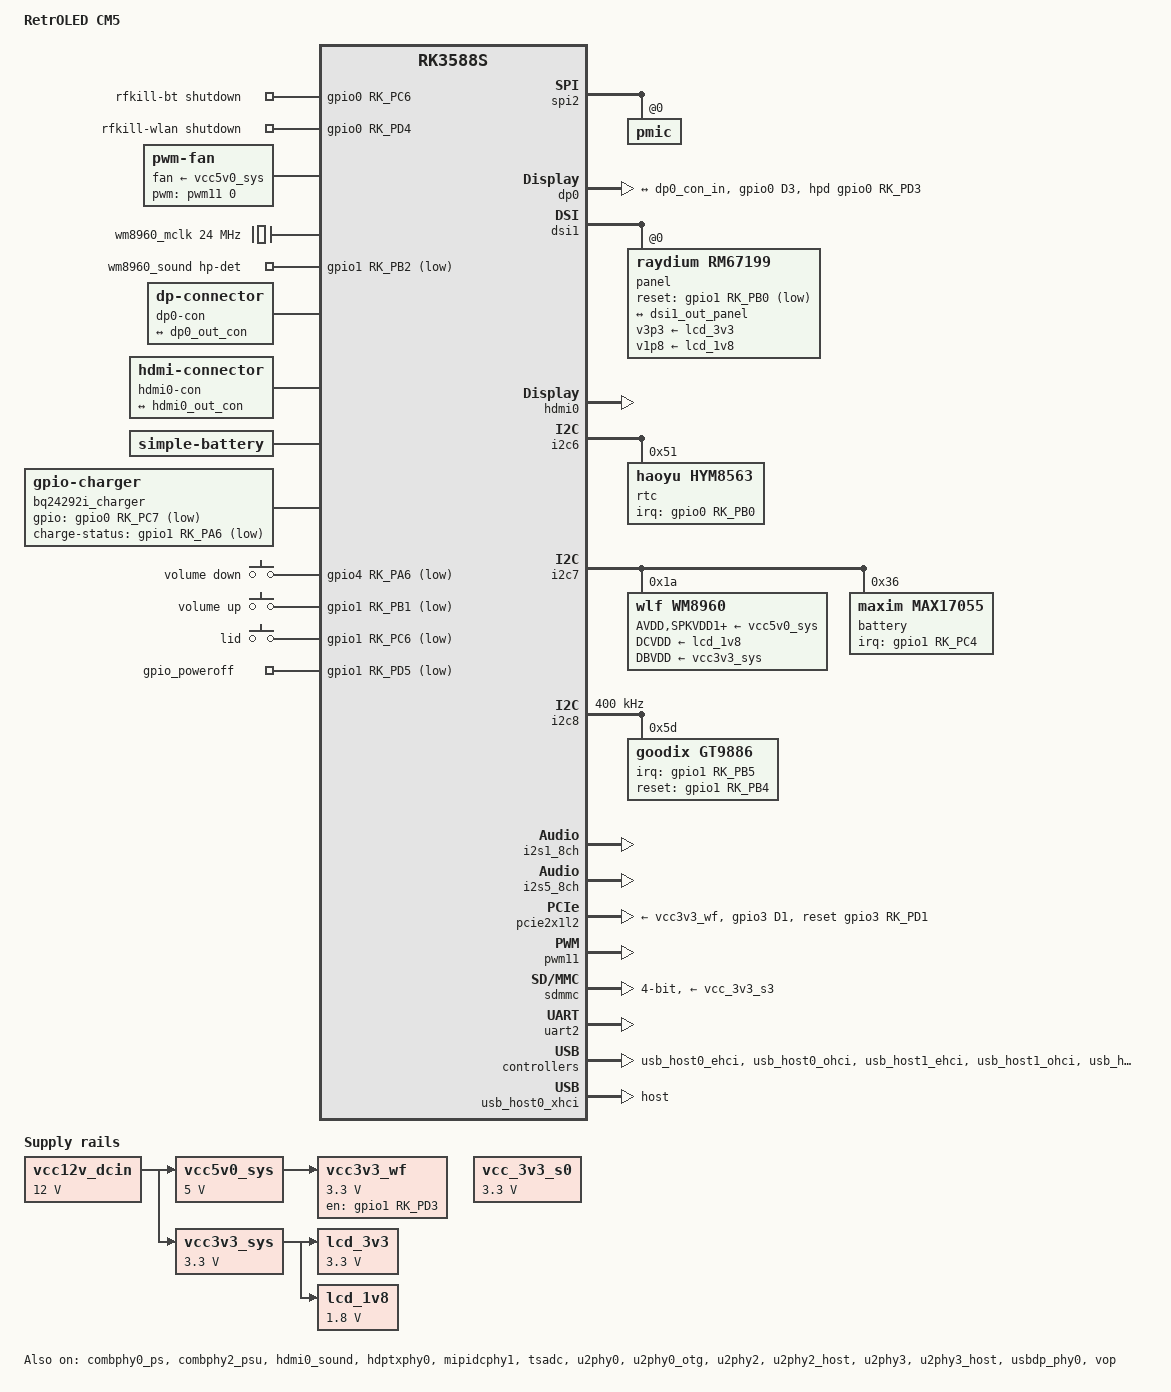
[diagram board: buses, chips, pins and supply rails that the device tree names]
// SPDX-License-Identifier: (GPL-2.0+ OR MIT)
/*
 * Copyright (c) 2024 StonedEdge and GinKage
 *
 * Based on rk3588s-radxa-cm5-io.dts
 * Copyright (c) 2025 Joseph Kogut <joseph.kogut@gmail.com>
 */

/dts-v1/;
#include "rk3588s.dtsi"
#include "rk3588s-radxa-cm5.dtsi"

#include <dt-bindings/gpio/gpio.h>
#include <dt-bindings/input/linux-event-codes.h>
#include <dt-bindings/interrupt-controller/irq.h>
#include <dt-bindings/pinctrl/rockchip.h>
#include <dt-bindings/pwm/pwm.h>
#include <dt-bindings/soc/rockchip,vop2.h>

/ {
	model = "RetrOLED CM5";
	chassis-type = "handset";
	compatible = "retroled,cm5", "radxa,cm5", "rockchip,rk3588s";

	aliases {
		mmc1 = &sdmmc;
	};

	chosen {
		stdout-path = "serial2:1500000n8";
	};

	vcc12v_dcin: regulator-12v0-vcc-dcin {
		compatible = "regulator-fixed";
		regulator-name = "vcc12v_dcin";
		regulator-always-on;
		regulator-boot-on;
		regulator-min-microvolt = <12000000>;
		regulator-max-microvolt = <12000000>;
	};

	vcc5v0_sys: regulator-5v0-sys {
		compatible = "regulator-fixed";
		regulator-name = "vcc5v0_sys";
		regulator-always-on;
		regulator-boot-on;
		regulator-min-microvolt = <5000000>;
		regulator-max-microvolt = <5000000>;
		vin-supply = <&vcc12v_dcin>;
	};

	vcc3v3_sys: regulator-3v3-sys {
		compatible = "regulator-fixed";
		regulator-name = "vcc3v3_sys";
		regulator-always-on;
		regulator-boot-on;
		regulator-min-microvolt = <3300000>;
		regulator-max-microvolt = <3300000>;
		vin-supply = <&vcc12v_dcin>;
	};

	/*
	 * vcc_3v3_s0 is referenced by the cm5.dtsi for gmac1 phy-supply
	 * and must therefore be defined in every board DTS. Modelled as a
	 * fixed rail, matching the Radxa CM5 IO board mainline DTS.
	 */
	vcc_3v3_s0: pldo-reg4 {
		compatible = "regulator-fixed";
		regulator-name = "vcc_3v3_s0";
		regulator-always-on;
		regulator-boot-on;
		regulator-min-microvolt = <3300000>;
		regulator-max-microvolt = <3300000>;
		regulator-ramp-delay = <12500>;

		regulator-state-mem {
			regulator-off-in-suspend;
		};
	};

	/* WiFi module power via PCIe slot */
	vcc3v3_wf: regulator-3v3-wf {
		compatible = "regulator-fixed";
		enable-active-high;
		gpio = <&gpio1 RK_PD3 GPIO_ACTIVE_HIGH>;
		pinctrl-names = "default";
		pinctrl-0 = <&wifi_pwr_en>;
		regulator-name = "vcc3v3_wf";
		regulator-min-microvolt = <3300000>;
		regulator-max-microvolt = <3300000>;
		regulator-boot-on;
		regulator-always-on;
		startup-delay-us = <50000>;
		vin-supply = <&vcc5v0_sys>;
	};

	rfkill-bt {
		compatible = "rfkill-gpio";
		pinctrl-names = "default";
		pinctrl-0 = <&host_wake_bt_h>;
		radio-type = "bluetooth";
		shutdown-gpios = <&gpio0 RK_PC6 GPIO_ACTIVE_HIGH>;
	};

	rfkill-wlan {
		compatible = "rfkill-gpio";
		pinctrl-names = "default";
		pinctrl-0 = <&bt_reg_on_h>;
		radio-type = "wlan";
		shutdown-gpios = <&gpio0 RK_PD4 GPIO_ACTIVE_HIGH>;
	};

	fan: pwm-fan {
		compatible = "pwm-fan";
		#cooling-cells = <2>;
		cooling-levels = <15 55 95 135 175 215 255>;
		fan-supply = <&vcc5v0_sys>;
		pwms = <&pwm11 0 40000 0>;
	};

	wm8960_mclk: wm8960-mclk {
		compatible = "fixed-clock";
		#clock-cells = <0>;
		clock-frequency = <24000000>;
	};

	wm8960_sound: wm8960-sound {
		status = "okay";
		compatible = "simple-audio-card";
		simple-audio-card,format = "i2s";
		simple-audio-card,name = "wm8960-soundcard";
		simple-audio-card,mclk-fs = <256>;
		simple-audio-card,widgets =
			"Microphone", "Mic Jack",
			"Line", "Line In",
			"Line", "Line Out",
			"Speaker", "Speaker",
			"Headphone", "Headphone Jack";
		simple-audio-card,routing =
			"Headphone Jack", "HP_L",
			"Headphone Jack", "HP_R",
			"Speaker", "SPK_LP",
			"Speaker", "SPK_LN",
			"LINPUT1", "Mic Jack",
			"LINPUT3", "Mic Jack",
			"RINPUT1", "Mic Jack",
			"RINPUT2", "Mic Jack";
		pinctrl-0 = <&hp_det>;
		pinctrl-names = "default";
		simple-audio-card,hp-det-gpio = <&gpio1 RK_PB2 GPIO_ACTIVE_LOW>;
		simple-audio-card,hp-pin-name = "Headphone Jack";

		sac_cpu: simple-audio-card,cpu {
			sound-dai = <&i2s1_8ch>;
		};

		sac_codec: simple-audio-card,codec {
			sound-dai = <&wm8960>;
			clocks = <&wm8960_mclk>;
			clock-names = "mclk";
		};
	};

	lcd_3v3: lcd-3v3 {
		compatible = "regulator-fixed";
		regulator-name = "lcd_3v3";
		regulator-always-on;
		regulator-boot-on;
		regulator-min-microvolt = <3300000>;
		regulator-max-microvolt = <3300000>;
		vin-supply = <&vcc3v3_sys>;
	};

	lcd_1v8: lcd-1v8 {
		compatible = "regulator-fixed";
		regulator-name = "lcd_1v8";
		regulator-always-on;
		regulator-boot-on;
		regulator-min-microvolt = <1800000>;
		regulator-max-microvolt = <1800000>;
		vin-supply = <&vcc3v3_sys>;
	};

	dp0-con {
		compatible = "dp-connector";
		type = "dp";

		port {
			dp0_con_in: endpoint {
				remote-endpoint = <&dp0_out_con>;
			};
		};
	};

	hdmi0-con {
		compatible = "hdmi-connector";
		type = "a";

		port {
			hdmi0_con_in: endpoint {
				remote-endpoint = <&hdmi0_out_con>;
			};
		};
	};

	bat: battery {
		compatible = "simple-battery";
		charge-full-design-microamp-hours = <7800000>;
		charge-term-current-microamp = <256000>;
		voltage-max-design-microvolt = <4200000>;
		voltage-min-design-microvolt = <3200000>;
	};

	bq24292i_charger: charger {
		compatible = "gpio-charger";
		charger-type = "usb-sdp";
		gpios = <&gpio0 RK_PC7 GPIO_ACTIVE_LOW>;
		charge-status-gpios = <&gpio1 RK_PA6 GPIO_ACTIVE_LOW>;
		pinctrl-names = "default";
		pinctrl-0 = <&bq24292i_gpio>;
	};

	gpio_keys: gpio-keys {
		compatible = "gpio-keys";
		pinctrl-names = "default";
		pinctrl-0 = <&volume_keys>;

		key-vol-down {
			label = "volume down";
			linux,code = <KEY_VOLUMEDOWN>;
			gpios = <&gpio4 RK_PA6 GPIO_ACTIVE_LOW>;
		};

		key-vol-up {
			label = "volume up";
			linux,code = <KEY_VOLUMEUP>;
			gpios = <&gpio1 RK_PB1 GPIO_ACTIVE_LOW>;
		};

		key-lid {
			label = "lid";
			linux,code = <SW_LID>;
			linux,input-type = <EV_SW>;
			gpios = <&gpio1 RK_PC6 GPIO_ACTIVE_LOW>;
		};
	};

	gpio_poweroff: gpio-poweroff {
		compatible = "gpio-poweroff";
		pinctrl-names = "default";
		pinctrl-0 = <&poweroff_gpio>;
		gpios = <&gpio1 RK_PD5 GPIO_ACTIVE_LOW>;
	};
};

&spi2 {
	pmic@0 {
		/delete-property/ system-power-controller;
	};
};

&combphy0_ps {
	status = "okay";
};

&combphy2_psu {
	status = "okay";
};

&dp0 {
	status = "okay";
	pinctrl-names = "default";
	pinctrl-0 = <&dp0_hpd>;
	hpd-gpios = <&gpio0 RK_PD3 GPIO_ACTIVE_HIGH>;

	ports {
		#address-cells = <1>;
		#size-cells = <0>;
		port@1 {
			reg = <1>;
			dp0_out_con: endpoint {
				remote-endpoint = <&dp0_con_in>;
			};
		};
	};
};

&dp0_in {
	dp0_in_vp2: endpoint {
		remote-endpoint = <&vp2_out_dp0>;
	};
};

&dsi1 {
	#address-cells = <1>;
	#size-cells = <0>;
	status = "okay";

	panel@0 {
		status = "okay";
		compatible = "raydium,rm67199";
		reg = <0>;
		v3p3-supply = <&lcd_3v3>;
		v1p8-supply = <&lcd_1v8>;
		reset-gpios = <&gpio1 RK_PB0 GPIO_ACTIVE_LOW>;
		rotation = <270>;
		pinctrl-names = "default";
		pinctrl-0 = <&dsi1_lcd_rst_gpio>;
		dsi-lanes = <4>;
		video-mode = <2>;	/* non-burst mode with sync pulse */
		width-mm = <68>;
		height-mm = <121>;

		display-timings {
			native-mode = <&dsi1_timing0>;

			dsi1_timing0: timing0 {
				clock-frequency = <134278000>;
				hactive = <1080>;
				vactive = <1920>;
				hfront-porch = <26>;
				hsync-len = <8>;
				hback-porch = <36>;
				vfront-porch = <8>;
				vsync-len = <4>;
				vback-porch = <16>;
				hsync-active = <0>;
				vsync-active = <0>;
				de-active = <0>;
				pixelclk-active = <0>;
			};
		};

		port {
			panel_in_dsi1: endpoint {
				remote-endpoint = <&dsi1_out_panel>;
			};
		};
	};
};

&dsi1_in {
	dsi1_in_vp3: endpoint {
		remote-endpoint = <&vp3_out_dsi1>;
	};
};

&dsi1_out {
	dsi1_out_panel: endpoint {
		remote-endpoint = <&panel_in_dsi1>;
	};
};

&hdmi0 {
	status = "okay";
};

&hdmi0_in {
	hdmi0_in_vp0: endpoint {
		remote-endpoint = <&vp0_out_hdmi0>;
	};
};

&hdmi0_out {
	hdmi0_out_con: endpoint {
		remote-endpoint = <&hdmi0_con_in>;
	};
};

&hdmi0_sound {
	status = "okay";
};

&hdptxphy0 {
	status = "okay";
};

&i2c6 {
	pinctrl-names = "default";
	pinctrl-0 = <&i2c6m3_xfer>;
	status = "okay";

	rtc@51 {
		compatible = "haoyu,hym8563";
		reg = <0x51>;
		#clock-cells = <0>;
		clock-output-names = "rtc_32k_in";
		interrupt-parent = <&gpio0>;
		interrupts = <RK_PB0 IRQ_TYPE_LEVEL_LOW>;
		pinctrl-names = "default";
		pinctrl-0 = <&rtc_int_l>;
		wakeup-source;
	};
};

&i2c7 {
	pinctrl-names = "default";
	pinctrl-0 = <&i2c7m2_xfer>;
	status = "okay";

	wm8960: wm8960@1a {
		compatible = "wlf,wm8960";
		reg = <0x1a>;
		#sound-dai-cells = <0>;
		clocks = <&wm8960_mclk>;
		clock-names = "mclk";
		AVDD-supply = <&vcc5v0_sys>;
		DCVDD-supply = <&lcd_1v8>;
		DBVDD-supply = <&vcc3v3_sys>;
		SPKVDD1-supply = <&vcc5v0_sys>;
		SPKVDD2-supply = <&vcc5v0_sys>;
	};

	battery: battery@36 {
		compatible = "maxim,max17055";
		reg = <0x36>;
		interrupt-parent = <&gpio1>;
		interrupts = <RK_PC4 IRQ_TYPE_LEVEL_LOW>;
		pinctrl-names = "default";
		pinctrl-0 = <&fuel_gauge>;
		monitored-battery = <&bat>;
		power-supplies = <&bq24292i_charger>;
		maxim,rsns-microohm = <10000>;
		maxim,over-heat-temp = <800>;
		maxim,dead-volt = <3100>;
		maxim,over-volt = <4300>;
	};
};

&i2c8 {
	pinctrl-names = "default";
	pinctrl-0 = <&i2c8m2_xfer>;
	clock-frequency = <400000>;
	status = "okay";

	gt9886: touchscreen@5d {
		compatible = "goodix,gt9886";
		reg = <0x5d>;
		interrupt-parent = <&gpio1>;
		interrupts = <RK_PB5 IRQ_TYPE_EDGE_FALLING>;
		pinctrl-names = "default";
		pinctrl-0 = <&gtx8_gpio>;
		goodix,irq-gpio = <&gpio1 RK_PB5 GPIO_ACTIVE_HIGH>;
		goodix,reset-gpio = <&gpio1 RK_PB4 GPIO_ACTIVE_HIGH>;
		goodix,irq-flags = <2>;
		goodix,panel-max-x = <1080>;
		goodix,panel-max-y = <1920>;
		goodix,panel-max-w = <255>;
	};
};

&i2s1_8ch {
	rockchip,playback-channels = <2>;
	rockchip,capture-channels = <2>;
	rockchip,i2s-tx-route = <1 0 2 3>;
	rockchip,i2s-rx-route = <0 1 2 3>;
	#sound-dai-cells = <0>;
	pinctrl-names = "default";
	pinctrl-0 = <&i2s1m0_sclk
		     &i2s1m0_lrck
		     &i2s1m0_sdi0
		     &i2s1m0_sdo1>;
	status = "okay";
};

&i2s5_8ch {
	status = "okay";
};

&mipidcphy1 {
	status = "okay";
};

&package_thermal {
	polling-delay = <1000>;

	trips {
		package_fan0: package-fan0 {
			hysteresis = <2000>;
			temperature = <55000>;
			type = "active";
		};

		package_fan1: package-fan1 {
			hysteresis = <2000>;
			temperature = <65000>;
			type = "active";
		};

		package_fan2: package-fan2 {
			hysteresis = <2000>;
			temperature = <75000>;
			type = "active";
		};
	};

	cooling-maps {
		map0 {
			cooling-device = <&fan THERMAL_NO_LIMIT 2>;
			trip = <&package_fan0>;
		};

		map1 {
			cooling-device = <&fan 3 5>;
			trip = <&package_fan1>;
		};

		map2 {
			cooling-device = <&fan 6 THERMAL_NO_LIMIT>;
			trip = <&package_fan2>;
		};
	};
};

&pcie2x1l2 {
	pinctrl-names = "default";
	pinctrl-0 = <&pcie20x1_2_perstn_m0>;
	reset-gpios = <&gpio3 RK_PD1 GPIO_ACTIVE_HIGH>;
	vpcie3v3-supply = <&vcc3v3_wf>;
	status = "okay";
};

&pinctrl {
	bq24292i {
		bq24292i_gpio: bq24292i-gpio {
			rockchip,pins =
				<0 RK_PC7 RK_FUNC_GPIO &pcfg_pull_up>,
				<1 RK_PA6 RK_FUNC_GPIO &pcfg_pull_up>;
		};
	};

	dp {
		dp0_hpd: dp0-hpd {
			rockchip,pins = <0 RK_PD3 RK_FUNC_GPIO &pcfg_pull_none>;
		};
	};

	dsi1-lcd {
		dsi1_lcd_rst_gpio: dsi1-lcd-rst-gpio {
			rockchip,pins = <1 RK_PB0 RK_FUNC_GPIO &pcfg_pull_up>;
		};
	};

	gauge {
		fuel_gauge: fuel-gauge {
			rockchip,pins = <1 RK_PC4 RK_FUNC_GPIO &pcfg_pull_none>;
		};
	};

	gpio-key {
		volume_keys: volume-keys {
			rockchip,pins =
				<4 RK_PA6 RK_FUNC_GPIO &pcfg_pull_up>,
				<1 RK_PB1 RK_FUNC_GPIO &pcfg_pull_up>,
				<1 RK_PC6 RK_FUNC_GPIO &pcfg_pull_up>;
		};
	};

	gtx8 {
		gtx8_gpio: gtx8-gpio {
			rockchip,pins =
				<1 RK_PB4 RK_FUNC_GPIO &pcfg_pull_up>,
				<1 RK_PB5 RK_FUNC_GPIO &pcfg_pull_none>;
		};
	};

	headphone {
		hp_det: hp-det {
			rockchip,pins = <1 RK_PB2 RK_FUNC_GPIO &pcfg_pull_up>;
		};
	};

	pcie {
		pcie20x1_2_perstn_m0: pcie20x1-2-perstn-m0 {
			rockchip,pins = <3 RK_PD1 RK_FUNC_GPIO &pcfg_pull_none>;
		};

		wifi_pwr_en: wifi-pwr-en {
			rockchip,pins = <1 RK_PD3 RK_FUNC_GPIO &pcfg_pull_none>;
		};
	};

	poweroff {
		poweroff_gpio: poweroff-gpio {
			rockchip,pins = <1 RK_PD5 RK_FUNC_GPIO &pcfg_pull_up>;
		};
	};

	rfkill {
		bt_reg_on_h: bt-reg-on-h {
			rockchip,pins = <0 RK_PD4 RK_FUNC_GPIO &pcfg_pull_down>;
		};

		host_wake_bt_h: host-wake-bt-h {
			rockchip,pins = <0 RK_PC6 RK_FUNC_GPIO &pcfg_pull_down>;
		};
	};

	rtc {
		rtc_int_l: rtc-int-l {
			rockchip,pins = <0 RK_PB0 RK_FUNC_GPIO &pcfg_pull_none>;
		};
	};
};

&pwm11 {
	pinctrl-names = "default";
	pinctrl-0 = <&pwm11m3_pins>;
	status = "okay";
};

&sdmmc {
	bus-width = <4>;
	cap-mmc-highspeed;
	cap-sd-highspeed;
	disable-wp;
	max-frequency = <200000000>;
	no-sdio;
	no-mmc;
	pinctrl-names = "default";
	pinctrl-0 = <&sdmmc_bus4 &sdmmc_clk &sdmmc_cmd &sdmmc_det>;
	sd-uhs-sdr104;
	vmmc-supply = <&vcc_3v3_s3>;
	vqmmc-supply = <&vccio_sd_s0>;
	status = "okay";
};

&tsadc {
	status = "okay";
};

&u2phy0 {
	status = "okay";
};

&u2phy0_otg {
	status = "okay";
};

&u2phy2 {
	status = "okay";
};

&u2phy2_host {
	status = "okay";
};

&u2phy3 {
	status = "okay";
};

&u2phy3_host {
	status = "okay";
};

&uart2 {
	pinctrl-names = "default";
	pinctrl-0 = <&uart2m0_xfer>;
	status = "okay";
};

&usb_host0_ehci {
	status = "okay";
};

&usb_host0_ohci {
	status = "okay";
};

&usb_host0_xhci {
	dr_mode = "host";
	status = "okay";
};

&usb_host1_ehci {
	status = "okay";
};

&usb_host1_ohci {
	status = "okay";
};

&usb_host2_xhci {
	status = "okay";
};

&usbdp_phy0 {
	rockchip,dp-lane-mux = <0 1 2 3>;
	status = "okay";
};

&vop {
	status = "okay";
	assigned-clocks = <&cru DCLK_VOP3>;
	assigned-clock-parents = <&cru PLL_V0PLL>;
};

&vop_mmu {
	status = "okay";
};

&vp0 {
	vp0_out_hdmi0: endpoint@ROCKCHIP_VOP2_EP_HDMI0 {
		reg = <ROCKCHIP_VOP2_EP_HDMI0>;
		remote-endpoint = <&hdmi0_in_vp0>;
	};
};

&vp2 {
	vp2_out_dp0: endpoint@a {
		reg = <ROCKCHIP_VOP2_EP_DP0>;
		remote-endpoint = <&dp0_in_vp2>;
	};
};

&vp3 {
	vp3_out_dsi1: endpoint@ROCKCHIP_VOP2_EP_MIPI1 {
		reg = <ROCKCHIP_VOP2_EP_MIPI1>;
		remote-endpoint = <&dsi1_in_vp3>;
	};
};
